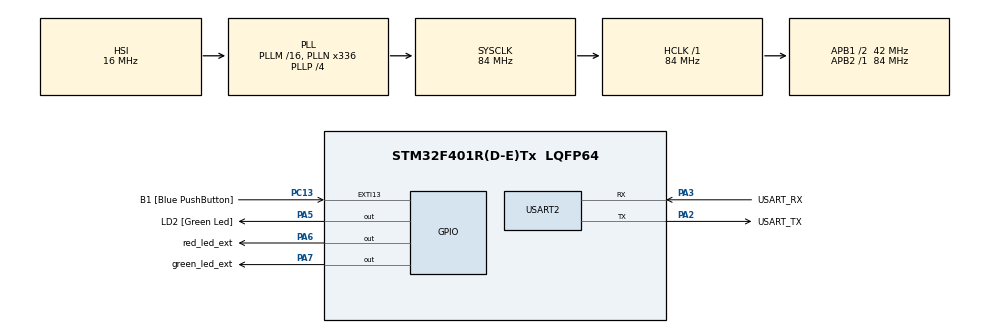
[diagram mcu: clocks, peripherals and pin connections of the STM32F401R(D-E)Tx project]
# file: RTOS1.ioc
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Mcu.Family=STM32F4
Mcu.Name=STM32F401R(D-E)Tx
Mcu.Package=LQFP64
NVIC.PriorityGroup=NVIC_PRIORITYGROUP_4
NVIC.TIM4_IRQn=true\:0\:0\:false\:false\:true\:false\:true\:true
NVIC.TimeBase=TIM4_IRQn
NVIC.TimeBaseIP=TIM4
PA13.GPIO_Label=TMS
PA13.Mode=Serial_Wire
PA13.Signal=SYS_JTMS-SWDIO
PA14.GPIO_Label=TCK
PA14.Mode=Serial_Wire
PA14.Signal=SYS_JTCK-SWCLK
PA2.GPIO_Label=USART_TX
PA2.GPIO_Mode=GPIO_MODE_AF_PP
PA2.GPIO_PuPd=GPIO_NOPULL
PA2.GPIO_Speed=GPIO_SPEED_FREQ_LOW
PA2.Mode=Asynchronous
PA2.Signal=USART2_TX
PA3.GPIO_Label=USART_RX
PA3.GPIO_Mode=GPIO_MODE_AF_PP
PA3.GPIO_PuPd=GPIO_NOPULL
PA3.GPIO_Speed=GPIO_SPEED_FREQ_LOW
PA3.Mode=Asynchronous
PA3.Signal=USART2_RX
PA5.GPIO_Label=LD2 [Green Led]
PA5.GPIO_Mode=GPIO_MODE_OUTPUT_PP
PA5.GPIO_PuPd=GPIO_NOPULL
PA5.GPIO_Speed=GPIO_SPEED_FREQ_LOW
PA5.Signal=GPIO_Output
PA6.GPIO_Label=red_led_ext
PA6.Signal=GPIO_Output
PA7.GPIO_Label=green_led_ext
PA7.Signal=GPIO_Output
PB3.GPIO_Label=SWO
PB3.Signal=SYS_JTDO-SWO
PC13-ANTI_TAMP.GPIO_Label=B1 [Blue PushButton]
PC13-ANTI_TAMP.GPIO_ModeDefaultEXTI=GPIO_MODE_IT_FALLING
PC13-ANTI_TAMP.GPIO_PuPd=GPIO_NOPULL
PC13-ANTI_TAMP.Signal=GPXTI13
PC14-OSC32_IN.Mode=LSE-External-Oscillator
PC14-OSC32_IN.Signal=RCC_OSC32_IN
PC15-OSC32_OUT.Mode=LSE-External-Oscillator
PC15-OSC32_OUT.Signal=RCC_OSC32_OUT
PH0\ -\ OSC_IN.Mode=HSE-External-Clock-Source
PH0\ -\ OSC_IN.Signal=RCC_OSC_IN
PH1\ -\ OSC_OUT.Mode=HSE-External-Clock-Source
PH1\ -\ OSC_OUT.Signal=RCC_OSC_OUT
ProjectManager.HeapSize=0x200
ProjectManager.StackSize=0x400
ProjectManager.TargetToolchain=STM32CubeIDE
RCC.48MHZClocksFreq_Value=48000000
RCC.AHBFreq_Value=84000000
RCC.APB1CLKDivider=RCC_HCLK_DIV2
RCC.APB1Freq_Value=42000000
RCC.APB1TimFreq_Value=84000000
RCC.APB2Freq_Value=84000000
RCC.APB2TimFreq_Value=84000000
RCC.CortexFreq_Value=84000000
RCC.HCLKFreq_Value=84000000
RCC.HSE_VALUE=8000000
RCC.HSI_VALUE=16000000
RCC.PLLN=336
RCC.PLLP=RCC_PLLP_DIV4
RCC.PLLQ=7
RCC.SYSCLKFreq_VALUE=84000000
RCC.SYSCLKSource=RCC_SYSCLKSOURCE_PLLCLK
RCC.VCOOutputFreq_Value=336000000
USART2.VirtualMode=VM_ASYNC
VP_SYS_VS_tim4.Mode=TIM4
board=NUCLEO-F401RE

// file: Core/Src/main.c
/* USER CODE BEGIN Header */
/**
  ******************************************************************************
  * @file           : main.c
  * @brief          : Main program body
  ******************************************************************************
  * @attention
  *
  * Copyright (c) 2026 STMicroelectronics.
  * All rights reserved.
  *
  * This software is licensed under terms that can be found in the LICENSE file
  * in the root directory of this software component.
  * If no LICENSE file comes with this software, it is provided AS-IS.
  *
  ******************************************************************************
  */
/* USER CODE END Header */
#include "main.h"

/* USER CODE BEGIN Includes */
#include "FreeRTOS.h"
#include "task.h"
#include <stdio.h>
/* USER CODE END Includes */

 UART_HandleTypeDef huart2;

void SystemClock_Config(void);
static void MX_GPIO_Init(void);
static void MX_USART2_UART_Init(void);
/* USER CODE BEGIN PFP */
static void led_green_handler( void * pvParameters );
static void led_red_handlerext( void * pvParameters );
static void led_green_handlerext( void * pvParameters );

//-----------------------------------------------
//    				LED

/* USER CODE END PFP */

int main(void)
{
  /* USER CODE BEGIN 1 */
	TaskHandle_t task1_handle;
	TaskHandle_t task2_handle;
	TaskHandle_t task3_handle;
	BaseType_t xReturned;
  /* USER CODE END 1 */

  /* MCU Configuration--------------------------------------------------------*/

  /* Reset of all peripherals, Initializes the Flash interface and the Systick. */
  HAL_Init();

  /* Configure the system clock */
  SystemClock_Config();

  /* Initialize all configured peripherals */
  MX_GPIO_Init();
  MX_USART2_UART_Init();
  /* USER CODE BEGIN 2 */
  /*
 	xReturned = xTaskCreate( task1_handler,		//* Function that implements the task.
                          "TASK1",		 		//* Text name for the task.
                          100,					//* Stack size in words, not bytes.
                          "HELLO FROM TASK1",   //* Parameter passed into the task.
                          2,					//* Priority at which the task is created.
                          &task1_handle);		//* Used to pass out the created task's handle.

  configASSERT(xReturned == pdPASS);

  xReturned = xTaskCreate( task2_handler,		//* Function that implements the task.
                           "TASK2",		 		//* Text name for the task.
                           100,					//* Stack size in words, not bytes.
                           "HELLO FROM TASK2",  //* Parameter passed into the task.
                           2,					//* Priority at which the task is created.
                           &task2_handle);		//* Used to pass out the created task's handle.

   configASSERT(xReturned == pdPASS);
*/
  xReturned = xTaskCreate( led_green_handler,		//* Function that implements the task.
                            "green led task",		 		//* Text name for the task.
                            100,					//* Stack size in words, not bytes.
                            NULL,   //* Parameter passed into the task.
                            2,					//* Priority at which the task is created.
                            &task1_handle);		//* Used to pass out the created task's handle.

  configASSERT(xReturned == pdPASS);

  xReturned = xTaskCreate( led_red_handlerext,		//* Function that implements the task.
                            "green led task",		 		//* Text name for the task.
                            100,					//* Stack size in words, not bytes.
                            NULL,   //* Parameter passed into the task.
                            2,					//* Priority at which the task is created.
                            &task1_handle);		//* Used to pass out the created task's handle.

  configASSERT(xReturned == pdPASS);

  xReturned = xTaskCreate( led_green_handlerext,		//* Function that implements the task.
                            "green led task",		 		//* Text name for the task.
                            100,					//* Stack size in words, not bytes.
                            NULL,   //* Parameter passed into the task.
                            2,					//* Priority at which the task is created.
                            &task1_handle);		//* Used to pass out the created task's handle.

  configASSERT(xReturned == pdPASS);

   vTaskStartScheduler();
  /* USER CODE END 2 */

  /* Infinite loop */
  while (1)
  {

  }
}

void SystemClock_Config(void)
{
  RCC_OscInitTypeDef RCC_OscInitStruct = {0};
  RCC_ClkInitTypeDef RCC_ClkInitStruct = {0};

  /** Configure the main internal regulator output voltage
  */
  __HAL_RCC_PWR_CLK_ENABLE();
  __HAL_PWR_VOLTAGESCALING_CONFIG(PWR_REGULATOR_VOLTAGE_SCALE2);

  /** Initializes the RCC Oscillators according to the specified parameters
  * in the RCC_OscInitTypeDef structure.
  */
  RCC_OscInitStruct.OscillatorType = RCC_OSCILLATORTYPE_HSI;
  RCC_OscInitStruct.HSIState = RCC_HSI_ON;
  RCC_OscInitStruct.HSICalibrationValue = RCC_HSICALIBRATION_DEFAULT;
  RCC_OscInitStruct.PLL.PLLState = RCC_PLL_ON;
  RCC_OscInitStruct.PLL.PLLSource = RCC_PLLSOURCE_HSI;
  RCC_OscInitStruct.PLL.PLLM = 16;
  RCC_OscInitStruct.PLL.PLLN = 336;
  RCC_OscInitStruct.PLL.PLLP = RCC_PLLP_DIV4;
  RCC_OscInitStruct.PLL.PLLQ = 7;
  if (HAL_RCC_OscConfig(&RCC_OscInitStruct) != HAL_OK)
  {
    Error_Handler();
  }

  /** Initializes the CPU, AHB and APB buses clocks
  */
  RCC_ClkInitStruct.ClockType = RCC_CLOCKTYPE_HCLK|RCC_CLOCKTYPE_SYSCLK
                              |RCC_CLOCKTYPE_PCLK1|RCC_CLOCKTYPE_PCLK2;
  RCC_ClkInitStruct.SYSCLKSource = RCC_SYSCLKSOURCE_PLLCLK;
  RCC_ClkInitStruct.AHBCLKDivider = RCC_SYSCLK_DIV1;
  RCC_ClkInitStruct.APB1CLKDivider = RCC_HCLK_DIV2;
  RCC_ClkInitStruct.APB2CLKDivider = RCC_HCLK_DIV1;

  if (HAL_RCC_ClockConfig(&RCC_ClkInitStruct, FLASH_LATENCY_2) != HAL_OK)
  {
    Error_Handler();
  }
}

static void MX_USART2_UART_Init(void)
{

  huart2.Instance = USART2;
  huart2.Init.BaudRate = 115200;
  huart2.Init.WordLength = UART_WORDLENGTH_8B;
  huart2.Init.StopBits = UART_STOPBITS_1;
  huart2.Init.Parity = UART_PARITY_NONE;
  huart2.Init.Mode = UART_MODE_TX_RX;
  huart2.Init.HwFlowCtl = UART_HWCONTROL_NONE;
  huart2.Init.OverSampling = UART_OVERSAMPLING_16;
  if (HAL_UART_Init(&huart2) != HAL_OK)
  {
    Error_Handler();
  }

}

static void MX_GPIO_Init(void)
{
  GPIO_InitTypeDef GPIO_InitStruct = {0};

  /* GPIO Ports Clock Enable */
  __HAL_RCC_GPIOC_CLK_ENABLE();
  __HAL_RCC_GPIOH_CLK_ENABLE();
  __HAL_RCC_GPIOA_CLK_ENABLE();
  __HAL_RCC_GPIOB_CLK_ENABLE();

  /*Configure GPIO pin Output Level */
  HAL_GPIO_WritePin(GPIOA, LD2_Pin|red_led_ext_Pin|green_led_ext_Pin, GPIO_PIN_RESET);

  /*Configure GPIO pin : B1_Pin */
  GPIO_InitStruct.Pin = B1_Pin;
  GPIO_InitStruct.Mode = GPIO_MODE_IT_FALLING;
  GPIO_InitStruct.Pull = GPIO_NOPULL;
  HAL_GPIO_Init(B1_GPIO_Port, &GPIO_InitStruct);

  /*Configure GPIO pins : LD2_Pin red_led_ext_Pin green_led_ext_Pin */
  GPIO_InitStruct.Pin = LD2_Pin|red_led_ext_Pin|green_led_ext_Pin;
  GPIO_InitStruct.Mode = GPIO_MODE_OUTPUT_PP;
  GPIO_InitStruct.Pull = GPIO_NOPULL;
  GPIO_InitStruct.Speed = GPIO_SPEED_FREQ_LOW;
  HAL_GPIO_Init(GPIOA, &GPIO_InitStruct);

}

/* USER CODE BEGIN 4 */
/*
static void task1_handler( void * parameters )
{
	while(1)
	{
	    printf("%s\n", (char*)parameters);

	    // Put task to sleep for 500ms so the hardware can transmit the text
	    vTaskDelay(pdMS_TO_TICKS(500));
	}
}

static void task2_handler( void * parameters )
{
	while(1)
	{
	    printf("%s\n", (char*)parameters);

	    // Put task to sleep for 500ms so the hardware can transmit the text
	    vTaskDelay(pdMS_TO_TICKS(500));
	}
}
*/
/* USER CODE BEGIN 4 */

static void led_green_handler( void * parameters )
{
    while(1)
    {
        // Toggle the onboard Green LED (LD2)
    	printf("task1\n");
        HAL_GPIO_TogglePin(LD2_GPIO_Port, LD2_Pin);
       HAL_Delay(1000);
       taskYIELD();
    }
}

static void led_red_handlerext( void * parameters )
{
    while(1)
    {
        // Toggle the external Red LED
    	printf("task2\n");
        HAL_GPIO_TogglePin(red_led_ext_GPIO_Port, red_led_ext_Pin);
        HAL_Delay(500);
        taskYIELD();
    }
}

static void led_green_handlerext( void * parameters )
{
    while(1)
    {
        // Toggle the external Green LED
    	printf("task3\n");
        HAL_GPIO_TogglePin(green_led_ext_GPIO_Port, green_led_ext_Pin);
        HAL_Delay(750);
        taskYIELD();
    }
}

/* USER CODE END 4 */

/* USER CODE END 4 */

void HAL_TIM_PeriodElapsedCallback(TIM_HandleTypeDef *htim)
{
  if (htim->Instance == TIM4) {
    HAL_IncTick();
  }
}

void Error_Handler(void)
{
  __disable_irq();
  while (1)
  {
  }
}
